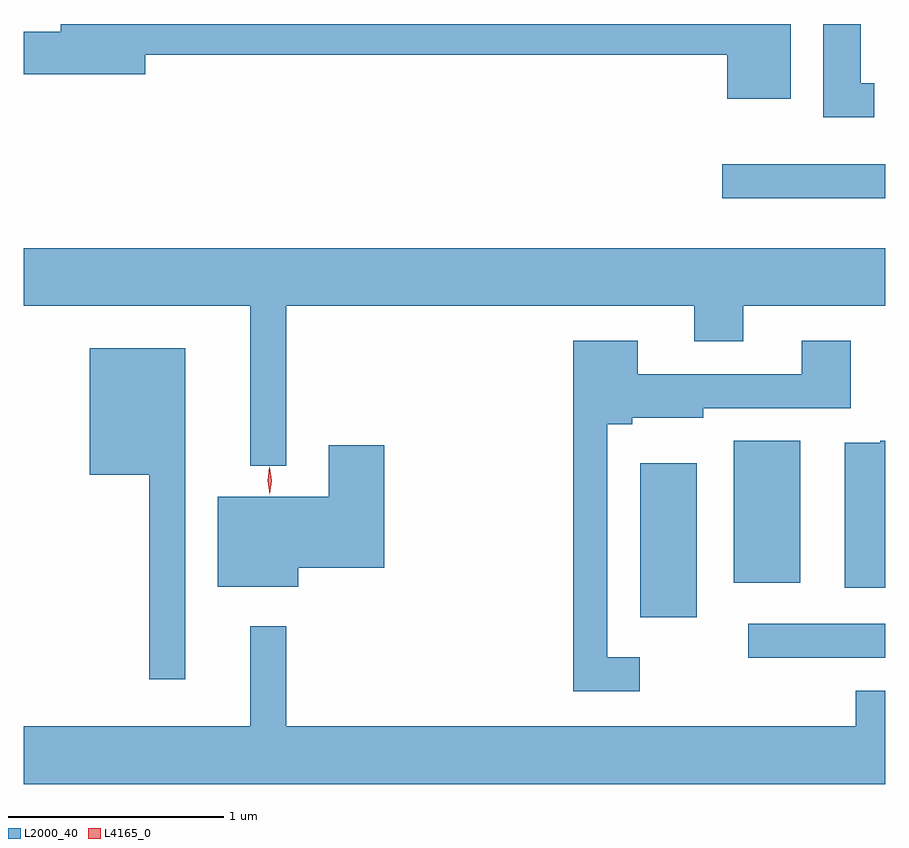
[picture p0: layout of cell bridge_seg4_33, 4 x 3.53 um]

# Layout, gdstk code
import gdstk
lib = gdstk.Library(unit=1e-6, precision=1e-09)
def R(c, l, rs):  # rectangles x0, y0, x1, y1
    for r in rs: c.add(gdstk.rectangle(r[:2], r[2:], *l))
def P(c, l, *ps):  # polygons
    for p in ps: c.add(gdstk.Polygon(p, *l))
L2000_40 = (2000, 40)
L4165_0 = (4165, 0)

bridge_seg4_33 = lib.new_cell('bridge_seg4_33')
R(bridge_seg4_33, L2000_40, [(1259.503,1290.881,1260.139,1291.039), (1259.001,1291.071,1259.264,1291.784), (1259.436,1291.231,1259.744,1291.889), (1259.383,1293.016,1260.139,1293.174)])
P(bridge_seg4_33, L2000_40, [(1259.699,1293.824),(1256.311,1293.824),(1256.311,1293.789),(1256.139,1293.789),(1256.139,1293.591),(1256.704,1293.591),(1256.704,1293.681),(1259.406,1293.681),(1259.406,1293.476),(1259.699,1293.476)],
  [(1260.088,1293.549),(1260.024,1293.549),(1260.024,1293.824),(1259.851,1293.824),(1259.851,1293.391),(1260.088,1293.391)],
  [(1257.359,1292.516),(1259.251,1292.516),(1259.251,1292.351),(1259.479,1292.351),(1259.479,1292.516),(1260.139,1292.516),(1260.139,1292.784),(1256.139,1292.784),(1256.139,1292.516),(1257.191,1292.516),(1257.191,1291.773),(1257.359,1291.773)],
  [(1258.998,1290.884),(1258.849,1290.884),(1258.849,1291.966),(1258.964,1291.966),(1258.964,1291.996),(1259.294,1291.996),(1259.294,1292.041),(1259.979,1292.041),(1259.979,1292.354),(1259.751,1292.354),(1259.751,1292.199),(1258.989,1292.199),(1258.989,1292.354),(1258.691,1292.354),(1258.691,1290.726),(1258.998,1290.726)],
  [(1256.889,1292.319),(1256.446,1292.319),(1256.446,1291.731),(1256.721,1291.731),(1256.721,1290.783),(1256.889,1290.783)],
  [(1260.139,1291.889),(1260.115,1291.889),(1260.115,1291.879),(1259.951,1291.879),(1259.951,1291.206),(1260.139,1291.206)],
  [(1257.414,1291.301),(1257.814,1291.301),(1257.814,1291.869),(1257.556,1291.869),(1257.556,1291.629),(1257.041,1291.629),(1257.041,1291.211),(1257.414,1291.211)],
  [(1260.139,1290.729),(1260.001,1290.729),(1260.001,1290.564),(1257.359,1290.564),(1257.359,1291.028),(1257.191,1291.028),(1257.191,1290.564),(1256.139,1290.564),(1256.139,1290.296),(1260.139,1290.296)])
P(bridge_seg4_33, L4165_0, [(1257.281,1291.641),(1257.281,1291.642),(1257.271,1291.704),(1257.28,1291.766),(1257.28,1291.767),(1257.281,1291.766),(1257.291,1291.704),(1257.282,1291.642)])

lib.write_gds('bridge_seg4_33.gds')
